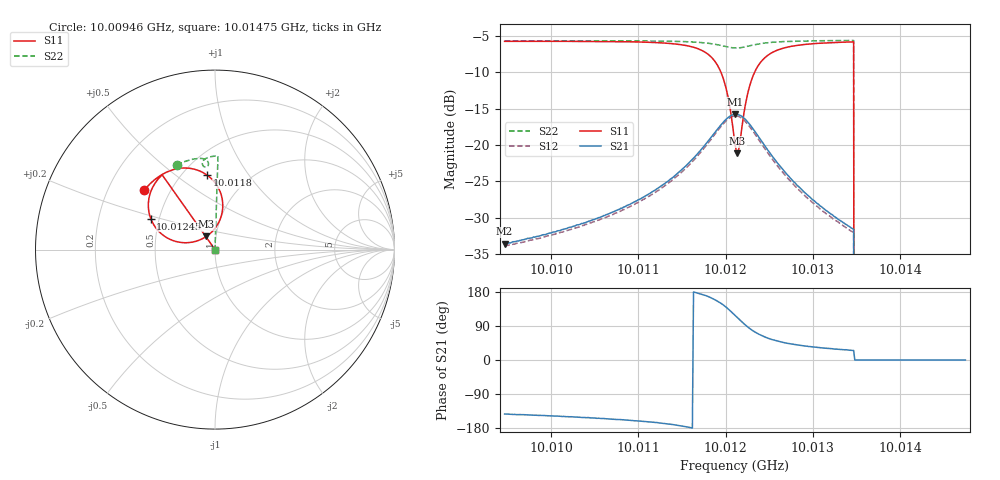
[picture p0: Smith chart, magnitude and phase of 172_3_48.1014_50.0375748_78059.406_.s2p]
#  HZ  S  RI  R  50.00
! Rohde & Schwarz Vector Network Analyzer
! Rohde-Schwarz,ZNB20-2Port,1311601062101988,3.16
! Created: UTC 12/23/2023, 3:51:52 AM
! freq[Hz]  re:S11  im:S11  re:S21  im:S21  re:S12  im:S12  re:S22  im:S22
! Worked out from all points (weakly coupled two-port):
!   401 points, 10.00946 GHz to 10.01475 GHz, reference 50 ohm
!   highest |S21| = -15.79 dB at 10.01211 GHz (marker M1); lowest = -33.6 dB at 10.00946 GHz (marker M2)
!   lowest |S11| = -21.1 dB at 10.01213 GHz (marker M3), VSWR 1.19, Z = 44.9 + j6.65 ohm
!   |S11| at or under -10 dB: 10.01195 GHz to 10.01233 GHz (387.6 kHz wide, 0.00387 % of centre); 10.01347 GHz to end of sweep
!   |S22| runs from - to -5.6 dB; largest |S21 - S12| = 0.0083
!   S11 on the Smith chart (normalised r, x): 10.00946 GHz: 0.36, +0.32; 10.0118 GHz: 0.65, +0.66; 10.01245 GHz: 0.45, +0.18; 10.01475 GHz: 1.00, +0.00
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1.0009464e10  -0.393 0.3325  -0.0167 -0.0128  -0.0153 -0.0131  -0.2137 0.4716
1.0010349e10  -0.3381 0.3878  -0.0254 -0.0138  -0.0237 -0.0146  -0.1588 0.4938
1.0010812e10  -0.2963 0.4175  -0.034 -0.0139  -0.0323 -0.015  -0.1278 0.5025
1.0011235e10  -0.2373 0.4442  -0.0494 -0.0123  -0.0468 -0.0145  -0.0967 0.5076
1.0011552e10  -0.158 0.4543  -0.0725 -0.00451  -0.0696 -0.00811  -0.0697 0.5071
1.0011803e10  -0.0439 0.4149  -0.1043 0.0237  -0.1022 0.018  -0.0457 0.497
1.0011896e10  0.00839 0.3608  -0.1156 0.0502  -0.115 0.0425  -0.0386 0.488
1.0011975e10  0.0404 0.2803  -0.1176 0.0827  -0.118 0.0755  -0.0362 0.4764
1.0012041e10  0.0358 0.1898  -0.1049 0.1158  -0.1078 0.108  -0.0399 0.4668
1.0012107e10  -0.0151 0.1009  -0.0759 0.1435  -0.0795 0.1368  -0.0492 0.4607
1.0012134e10  -0.0482 0.0735  -0.0608 0.1502  -0.065 0.1437  -0.0535 0.4603
1.001216e10  -0.0855 0.0535  -0.0452 0.1536  -0.0492 0.1478  -0.0579 0.461
1.0012226e10  -0.1844 0.0392  -0.00621 0.1497  -0.0104 0.1444  -0.0667 0.4677
1.0012279e10  -0.252 0.0579  0.0177 0.1365  0.0123 0.132  -0.0702 0.4751
1.0012358e10  -0.3204 0.1095  0.0385 0.1119  0.0335 0.1085  -0.0696 0.4865
1.0012451e10  -0.3583 0.1731  0.0483 0.0856  0.0428 0.0836  -0.064 0.4971
1.0012689e10  -0.3678 0.287  0.0454 0.0454  0.0413 0.0453  -0.0437 0.5116
1.0012993e10  -0.3399 0.3601  0.0347 0.0241  0.0321 0.0243  -0.0185 0.5187
1.0013442e10  -0.297 0.4144  0.0242 0.0117  0.0223 0.0123  0.0148 0.5215
1.0013508e10  0 0  0 0  0 0  0 0
1.0013878e10  0 0  0 0  0 0  0 0
1.001475e10  0 0  0 0  0 0  0 0
